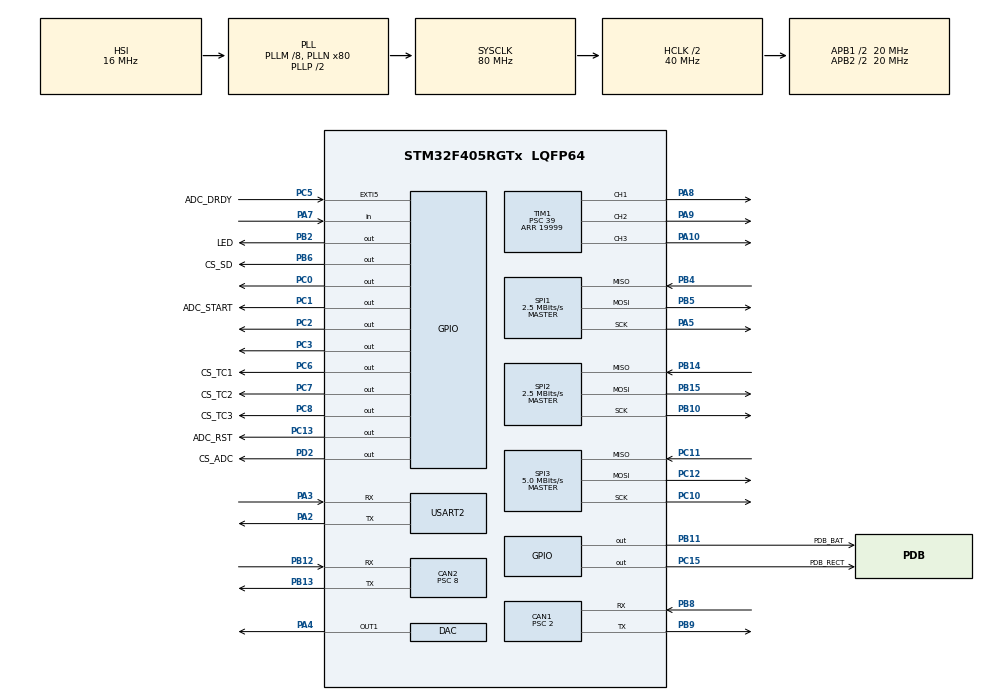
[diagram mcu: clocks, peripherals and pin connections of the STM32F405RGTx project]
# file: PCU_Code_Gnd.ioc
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CAN1.ABOM=ENABLE
CAN1.BS1=CAN_BS1_8TQ
CAN1.CalculateBaudRate=1000000
CAN1.CalculateTimeBit=1000
CAN1.CalculateTimeQuantum=100.0
CAN1.NART=ENABLE
CAN1.Prescaler=2
CAN1.TXFP=ENABLE
CAN2.ABOM=ENABLE
CAN2.BS1=CAN_BS1_8TQ
CAN2.CalculateBaudRate=250000
CAN2.CalculateTimeBit=4000
CAN2.CalculateTimeQuantum=400.0
CAN2.NART=ENABLE
CAN2.Prescaler=8
Dma.Request0=USART2_RX
Dma.USART2_RX.0.Direction=DMA_PERIPH_TO_MEMORY
Dma.USART2_RX.0.FIFOMode=DMA_FIFOMODE_DISABLE
Dma.USART2_RX.0.Instance=DMA1_Stream5
Dma.USART2_RX.0.MemDataAlignment=DMA_MDATAALIGN_BYTE
Dma.USART2_RX.0.MemInc=DMA_MINC_ENABLE
Dma.USART2_RX.0.Mode=DMA_NORMAL
Dma.USART2_RX.0.PeriphDataAlignment=DMA_PDATAALIGN_BYTE
Dma.USART2_RX.0.PeriphInc=DMA_PINC_DISABLE
Dma.USART2_RX.0.Priority=DMA_PRIORITY_LOW
FATFS._MAX_SS=4096
FATFS._USE_LFN=0
FREERTOS.Tasks01=defaultTask,24,128,StartDefaultTask,Default,NULL,Dynamic,NULL,NULL
FREERTOS.configCHECK_FOR_STACK_OVERFLOW=2
FREERTOS.configENABLE_FPU=1
FREERTOS.configTOTAL_HEAP_SIZE=32768
FREERTOS.configUSE_IDLE_HOOK=1
FREERTOS.configUSE_MALLOC_FAILED_HOOK=1
FREERTOS.configUSE_NEWLIB_REENTRANT=1
FREERTOS.configUSE_TICK_HOOK=1
IWDG.Prescaler=IWDG_PRESCALER_8
IWDG.Reload=4095
Mcu.Family=STM32F4
Mcu.Name=STM32F405RGTx
Mcu.Package=LQFP64
NVIC.CAN1_RX0_IRQn=true\:5\:0\:true\:false\:true\:true\:true\:true\:true
NVIC.CAN1_SCE_IRQn=true\:5\:0\:false\:false\:true\:true\:true\:true\:true
NVIC.CAN1_TX_IRQn=true\:5\:0\:false\:false\:true\:true\:true\:true\:true
NVIC.CAN2_RX0_IRQn=true\:5\:0\:true\:false\:true\:true\:true\:true\:true
NVIC.CAN2_SCE_IRQn=true\:5\:0\:false\:false\:true\:true\:true\:true\:true
NVIC.CAN2_TX_IRQn=true\:5\:0\:false\:false\:true\:true\:true\:true\:true
NVIC.DMA1_Stream5_IRQn=true\:5\:0\:false\:false\:true\:true\:false\:true\:true
NVIC.EXTI9_5_IRQn=true\:5\:0\:true\:false\:true\:true\:true\:true\:true
NVIC.PriorityGroup=NVIC_PRIORITYGROUP_4
NVIC.TIM6_DAC_IRQn=true\:15\:0\:false\:false\:true\:false\:false\:true\:true
NVIC.TimeBase=TIM6_DAC_IRQn
NVIC.TimeBaseIP=TIM6
PA10.Signal=S_TIM1_CH3
PA13.Mode=Trace_Asynchronous_SW
PA13.Signal=SYS_JTMS-SWDIO
PA14.Mode=Trace_Asynchronous_SW
PA14.Signal=SYS_JTCK-SWCLK
PA2.Mode=Asynchronous
PA2.Signal=USART2_TX
PA3.GPIO_PuPd=GPIO_PULLUP
PA3.Mode=Asynchronous
PA3.Signal=USART2_RX
PA4.Signal=COMP_DAC1_group
PA5.Mode=Full_Duplex_Master
PA5.Signal=SPI1_SCK
PA7.GPIO_PuPd=GPIO_PULLDOWN
PA7.Signal=GPIO_Input
PA8.Signal=S_TIM1_CH1
PA9.Signal=S_TIM1_CH2
PB10.Mode=Full_Duplex_Master
PB10.Signal=SPI2_SCK
PB11.GPIO_Label=PDB_BAT
PB11.Signal=GPIO_Output
PB12.Mode=CAN_Activate
PB12.Signal=CAN2_RX
PB13.Mode=CAN_Activate
PB13.Signal=CAN2_TX
PB14.Mode=Full_Duplex_Master
PB14.Signal=SPI2_MISO
PB15.Mode=Full_Duplex_Master
PB15.Signal=SPI2_MOSI
PB2.GPIO_Label=LED
PB2.Signal=GPIO_Output
PB3.Mode=Trace_Asynchronous_SW
PB3.Signal=SYS_JTDO-SWO
PB4.Mode=Full_Duplex_Master
PB4.Signal=SPI1_MISO
PB5.Mode=Full_Duplex_Master
PB5.Signal=SPI1_MOSI
PB6.GPIO_Label=CS_SD
PB6.GPIO_Speed=GPIO_SPEED_FREQ_HIGH
PB6.PinState=GPIO_PIN_SET
PB6.Signal=GPIO_Output
PB8.Mode=CAN_Activate
PB8.Signal=CAN1_RX
PB9.Mode=CAN_Activate
PB9.Signal=CAN1_TX
PC0.GPIO_PuPd=GPIO_PULLUP
PC0.PinState=GPIO_PIN_SET
PC0.Signal=GPIO_Output
PC1.GPIO_Label=ADC_START
PC1.GPIO_PuPd=GPIO_NOPULL
PC1.Signal=GPIO_Output
PC10.Mode=Full_Duplex_Master
PC10.Signal=SPI3_SCK
PC11.Mode=Full_Duplex_Master
PC11.Signal=SPI3_MISO
PC12.Mode=Full_Duplex_Master
PC12.Signal=SPI3_MOSI
PC13-ANTI_TAMP.GPIO_Label=ADC_RST
PC13-ANTI_TAMP.PinState=GPIO_PIN_SET
PC13-ANTI_TAMP.Signal=GPIO_Output
PC15-OSC32_OUT.GPIO_Label=PDB_RECT
PC15-OSC32_OUT.Signal=GPIO_Output
PC2.GPIO_PuPd=GPIO_PULLUP
PC2.PinState=GPIO_PIN_SET
PC2.Signal=GPIO_Output
PC3.GPIO_PuPd=GPIO_PULLDOWN
PC3.Signal=GPIO_Output
PC5.GPIO_Label=ADC_DRDY
PC5.GPIO_ModeDefaultEXTI=GPIO_MODE_IT_FALLING
PC5.Signal=GPXTI5
PC6.GPIO_Label=CS_TC1
PC6.PinState=GPIO_PIN_SET
PC6.Signal=GPIO_Output
PC7.GPIO_Label=CS_TC2
PC7.PinState=GPIO_PIN_SET
PC7.Signal=GPIO_Output
PC8.GPIO_Label=CS_TC3
PC8.PinState=GPIO_PIN_SET
PC8.Signal=GPIO_Output
PD2.GPIO_Label=CS_ADC
PD2.PinState=GPIO_PIN_SET
PD2.Signal=GPIO_Output
PH0-OSC_IN.Mode=HSE-External-Oscillator
PH0-OSC_IN.Signal=RCC_OSC_IN
PH1-OSC_OUT.Mode=HSE-External-Oscillator
PH1-OSC_OUT.Signal=RCC_OSC_OUT
ProjectManager.HeapSize=0x200
ProjectManager.StackSize=0x400
ProjectManager.TargetToolchain=CMake
RCC.48MHZClocksFreq_Value=40000000
RCC.AHBCLKDivider=RCC_SYSCLK_DIV2
RCC.AHBFreq_Value=40000000
RCC.APB1CLKDivider=RCC_HCLK_DIV2
RCC.APB1Freq_Value=20000000
RCC.APB1TimFreq_Value=40000000
RCC.APB2CLKDivider=RCC_HCLK_DIV2
RCC.APB2Freq_Value=20000000
RCC.APB2TimFreq_Value=40000000
RCC.CortexFreq_Value=40000000
RCC.HCLKFreq_Value=40000000
RCC.HSE_VALUE=24000000
RCC.HSI_VALUE=16000000
RCC.LSE_VALUE=32768
RCC.PLLM=8
RCC.PLLN=80
RCC.SYSCLKFreq_VALUE=80000000
RCC.SYSCLKSource=RCC_SYSCLKSOURCE_PLLCLK
RCC.VCOOutputFreq_Value=160000000
SH.COMP_DAC1_group.0=DAC_OUT1,DAC_OUT1
SH.S_TIM1_CH1.0=TIM1_CH1,PWM Generation1 CH1
SH.S_TIM1_CH2.0=TIM1_CH2,PWM Generation2 CH2
SH.S_TIM1_CH3.0=TIM1_CH3,PWM Generation3 CH3
SPI1.BaudRatePrescaler=SPI_BAUDRATEPRESCALER_8
SPI1.CalculateBaudRate=2.5 MBits/s
SPI1.Direction=SPI_DIRECTION_2LINES
SPI1.Mode=SPI_MODE_MASTER
SPI1.VirtualType=VM_MASTER
SPI2.BaudRatePrescaler=SPI_BAUDRATEPRESCALER_8
SPI2.CalculateBaudRate=2.5 MBits/s
SPI2.Direction=SPI_DIRECTION_2LINES
SPI2.Mode=SPI_MODE_MASTER
SPI2.VirtualType=VM_MASTER
SPI3.BaudRatePrescaler=SPI_BAUDRATEPRESCALER_4
SPI3.CLKPhase=SPI_PHASE_2EDGE
SPI3.CalculateBaudRate=5.0 MBits/s
SPI3.Direction=SPI_DIRECTION_2LINES
SPI3.Mode=SPI_MODE_MASTER
SPI3.VirtualType=VM_MASTER
TIM1.Channel-PWM\ Generation1\ CH1=TIM_CHANNEL_1
TIM1.Channel-PWM\ Generation2\ CH2=TIM_CHANNEL_2
TIM1.Channel-PWM\ Generation3\ CH3=TIM_CHANNEL_3
TIM1.Period=19999
TIM1.Prescaler=39
USART2.VirtualMode=VM_ASYNC
VP_FATFS_VS_Generic.Mode=User_defined
VP_FREERTOS_VS_CMSIS_V2.Mode=CMSIS_V2
VP_IWDG_VS_IWDG.Mode=IWDG_Activate
VP_SYS_VS_tim6.Mode=TIM6
board=custom

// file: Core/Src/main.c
/* USER CODE BEGIN Header */
/**
  ******************************************************************************
  * @file           : main.c
  * @brief          : Main program body
  ******************************************************************************
  * @attention
  *
  * Copyright (c) 2026 STMicroelectronics.
  * All rights reserved.
  *
  * This software is licensed under terms that can be found in the LICENSE file
  * in the root directory of this software component.
  * If no LICENSE file comes with this software, it is provided AS-IS.
  *
  ******************************************************************************
  */
/* USER CODE END Header */
#include "main.h"
#include "cmsis_os.h"
#include "can.h"
#include "dac.h"
#include "dma.h"
#include "fatfs.h"
#include "iwdg.h"
#include "spi.h"
#include "tim.h"
#include "usart.h"
#include "gpio.h"

void SystemClock_Config(void);
void MX_FREERTOS_Init(void);

int main(void)
{

  /* MCU Configuration--------------------------------------------------------*/

  /* Reset of all peripherals, Initializes the Flash interface and the Systick. */
  HAL_Init();

  /* Configure the system clock */
  SystemClock_Config();

  /* Initialize all configured peripherals */
  MX_GPIO_Init();
  MX_DMA_Init();
  MX_CAN1_Init();
  MX_CAN2_Init();
  MX_DAC_Init();
  MX_SPI1_Init();
  MX_SPI2_Init();
  MX_SPI3_Init();
  MX_TIM1_Init();
  MX_FATFS_Init();
  MX_IWDG_Init();
  MX_USART2_UART_Init();
  /* USER CODE BEGIN 2 */
  #if defined(DEBUG)
  // __HAL_DBGMCU_FREEZE_IWDG();
  __HAL_DBGMCU_FREEZE_CAN1();
  __HAL_DBGMCU_FREEZE_CAN2();
#endif

  /* USER CODE END 2 */

  /* Init scheduler */
  osKernelInitialize();  /* Call init function for freertos objects (in cmsis_os2.c) */
  MX_FREERTOS_Init();

  /* Start scheduler */
  osKernelStart();

  /* We should never get here as control is now taken by the scheduler */

  /* Infinite loop */
  while (1)
  {

  }
}

void SystemClock_Config(void)
{
  RCC_OscInitTypeDef RCC_OscInitStruct = {0};
  RCC_ClkInitTypeDef RCC_ClkInitStruct = {0};

  /** Configure the main internal regulator output voltage
  */
  __HAL_RCC_PWR_CLK_ENABLE();
  __HAL_PWR_VOLTAGESCALING_CONFIG(PWR_REGULATOR_VOLTAGE_SCALE1);

  /** Initializes the RCC Oscillators according to the specified parameters
  * in the RCC_OscInitTypeDef structure.
  */
  RCC_OscInitStruct.OscillatorType = RCC_OSCILLATORTYPE_HSI|RCC_OSCILLATORTYPE_LSI;
  RCC_OscInitStruct.HSIState = RCC_HSI_ON;
  RCC_OscInitStruct.HSICalibrationValue = RCC_HSICALIBRATION_DEFAULT;
  RCC_OscInitStruct.LSIState = RCC_LSI_ON;
  RCC_OscInitStruct.PLL.PLLState = RCC_PLL_ON;
  RCC_OscInitStruct.PLL.PLLSource = RCC_PLLSOURCE_HSI;
  RCC_OscInitStruct.PLL.PLLM = 8;
  RCC_OscInitStruct.PLL.PLLN = 80;
  RCC_OscInitStruct.PLL.PLLP = RCC_PLLP_DIV2;
  RCC_OscInitStruct.PLL.PLLQ = 4;
  if (HAL_RCC_OscConfig(&RCC_OscInitStruct) != HAL_OK)
  {
    Error_Handler();
  }

  /** Initializes the CPU, AHB and APB buses clocks
  */
  RCC_ClkInitStruct.ClockType = RCC_CLOCKTYPE_HCLK|RCC_CLOCKTYPE_SYSCLK
                              |RCC_CLOCKTYPE_PCLK1|RCC_CLOCKTYPE_PCLK2;
  RCC_ClkInitStruct.SYSCLKSource = RCC_SYSCLKSOURCE_PLLCLK;
  RCC_ClkInitStruct.AHBCLKDivider = RCC_SYSCLK_DIV2;
  RCC_ClkInitStruct.APB1CLKDivider = RCC_HCLK_DIV2;
  RCC_ClkInitStruct.APB2CLKDivider = RCC_HCLK_DIV2;

  if (HAL_RCC_ClockConfig(&RCC_ClkInitStruct, FLASH_LATENCY_1) != HAL_OK)
  {
    Error_Handler();
  }
}

void HAL_TIM_PeriodElapsedCallback(TIM_HandleTypeDef *htim)
{
  if (htim->Instance == TIM6)
  {
    HAL_IncTick();
  }
}

void Error_Handler(void)
{
  __disable_irq();
  while (1)
  {
  }
}

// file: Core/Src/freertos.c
/* USER CODE BEGIN Header */
/**
  ******************************************************************************
  * File Name          : freertos.c
  * Description        : Code for freertos applications
  ******************************************************************************
  * @attention
  *
  * Copyright (c) 2026 STMicroelectronics.
  * All rights reserved.
  *
  * This software is licensed under terms that can be found in the LICENSE file
  * in the root directory of this software component.
  * If no LICENSE file comes with this software, it is provided AS-IS.
  *
  ******************************************************************************
  */
/* USER CODE END Header */

#include "FreeRTOS.h"
#include "task.h"
#include "main.h"
#include "cmsis_os.h"

/* USER CODE BEGIN Includes */
#include "can_manager.h"
#include "powertrain_state.h"
#include "rectifier_task.h"
#include "supervisor_task.h"
#include "pdb_task.h"
#include "sensor_task.h"
#include "log_task.h"
#include "fc_link_task.h"
#include "ecu_task.h"
#include "dyno_sweep_task.h"
#include "dyno_load_task.h"
#include "periph_wrappers.h"
#include "rtos_stats.h"

/* FATFS_SD timeout counters — decremented in vApplicationTickHook below.
 * Requires configUSE_TICK_HOOK = 1 (set in CubeMX → FreeRTOS → Config). */
extern uint16_t Timer1, Timer2;
/* USER CODE END Includes */

/* Definitions for defaultTask */
osThreadId_t defaultTaskHandle;
const osThreadAttr_t defaultTask_attributes = {
  .name = "defaultTask",
  .stack_size = 128 * 4,
  .priority = (osPriority_t) osPriorityNormal,
};

void StartDefaultTask(void *argument);

void MX_FREERTOS_Init(void); /* (MISRA C 2004 rule 8.1) */

/* Hook prototypes */
void vApplicationIdleHook(void);
void vApplicationTickHook(void);
void vApplicationStackOverflowHook(xTaskHandle xTask, signed char *pcTaskName);
void vApplicationMallocFailedHook(void);

/* USER CODE BEGIN 2 */
void vApplicationIdleHook( void )
{
   /* 1 Hz LED heartbeat — toggled here so it freezes when the system is so
    * overloaded that idle never runs. HAL_GetTick is ISR-safe and doesn't
    * touch FreeRTOS state. */
   static uint32_t last_toggle = 0;
   uint32_t now = HAL_GetTick();
   if ((uint32_t)(now - last_toggle) >= 500u) {
       led_hw_toggle();
       last_toggle = now;
   }
}

void vApplicationTickHook( void )
{
   /* Decrement the FATFS_SD millisecond counters used inside the SD driver
    * for SPI/SD timeouts. Called from xPortSysTickHandler each FreeRTOS tick
    * (1 ms) when configUSE_TICK_HOOK = 1. */
   if (Timer1 > 0) Timer1--;
   if (Timer2 > 0) Timer2--;
}
/* USER CODE END 2 */

/* USER CODE BEGIN 3 */
/* vApplicationTickHook implemented above (USER CODE 2 block) — Timer1/Timer2
 * decrement for FATFS_SD lives there. CubeMX regen put an empty stub here;
 * removed to avoid duplicate-definition. */
/* USER CODE END 3 */

/* USER CODE BEGIN 4 */
void vApplicationStackOverflowHook(xTaskHandle xTask, signed char *pcTaskName)
{
   (void)xTask;
   (void)pcTaskName;
   /* Inspect pcTaskName in the debugger to see which task overflowed.
    * Halts in Error_Handler so the live state is preserved. Disable IRQs
    * first so we don't keep ticking IWDG and reset before inspection. */
   __disable_irq();
   Error_Handler();
}
/* USER CODE END 4 */

/* USER CODE BEGIN 5 */
void vApplicationMallocFailedHook(void)
{
   /* pvPortMalloc returned NULL — likely libcanard pool exhaustion or task
    * creation failed. Treat as fatal during bring-up. */
   __disable_irq();
   Error_Handler();
}
/* USER CODE END 5 */

void MX_FREERTOS_Init(void) {

  /* Create the thread(s) */
  /* creation of defaultTask */
  defaultTaskHandle = osThreadNew(StartDefaultTask, NULL, &defaultTask_attributes);

  /* USER CODE BEGIN RTOS_THREADS */
  /* Rectifier-link bring-up: only what rectifier_task needs.
   * Re-enable the others once the PCU↔VESC protocol is verified end-to-end. */
  pt_init();
  can_mgr_init();
  rectifier_task_start();
  supervisor_task_start();
  dyno_sweep_task_start();
  // dyno_load_task_start();   /* re-enable when load fan bench is wired */
  pdb_task_start();
  sensor_task_start();
  log_task_start();
  fc_link_task_start();
  ecu_task_start();      /* Loweheiser ECU on USART2 (MegaSquirt 'A' poll) */
  rtos_stats_task_start();
  /* USER CODE END RTOS_THREADS */

}

void StartDefaultTask(void *argument)
{
  /* USER CODE BEGIN StartDefaultTask */
  /* One-shot PC3 pulse at boot: drive HIGH, hold 1 s, drive LOW.
   * PC3 is configured as GPIO_Output_PP in CubeMX (see MX_GPIO_Init) —
   * moved off PA3 after PA2/PA3 were reassigned to USART2 TX/RX. */
  HAL_GPIO_WritePin(GPIOC, GPIO_PIN_3, GPIO_PIN_SET);
  osDelay(1000);
  HAL_GPIO_WritePin(GPIOC, GPIO_PIN_3, GPIO_PIN_RESET);

  /* supervisor_task owns pt_set_setpoint + watchdog kicks; defaultTask idles. */
  for(;;)
  {
    osDelay(1000);
  }
  /* USER CODE END StartDefaultTask */
}
